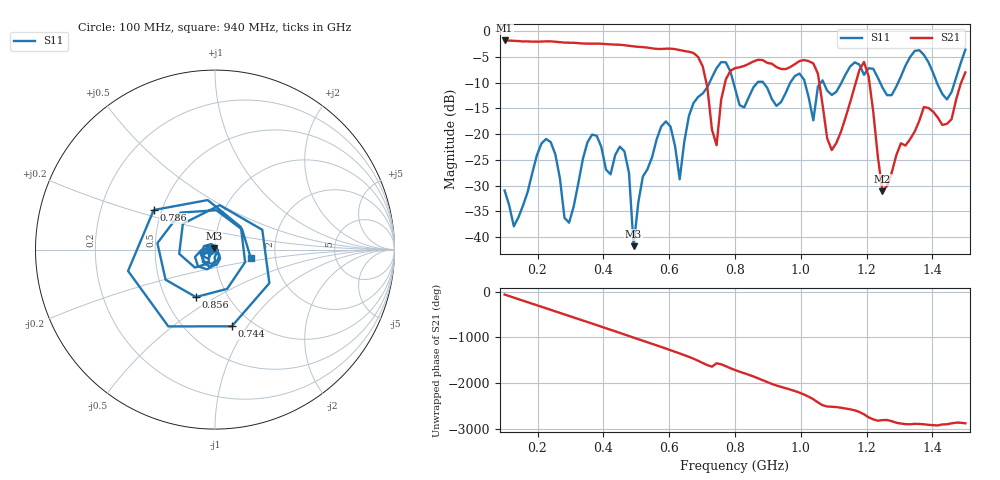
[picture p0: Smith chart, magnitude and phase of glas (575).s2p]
! NanoVNA-App
! Date: 2025-09-25 15:59:57
! Start: 100MHz Stop: 1,5GHz Points: 101
! S-Parameter data: F S11 S21 S12 S22
# Hz S RI R 50
!  Frequency  S11_Real  S11_Imag  S21_Real  S21_Imag  S12_Real  S12_Imag  S22_Real  S22_Imag
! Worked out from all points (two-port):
!   101 points, 100 MHz to 1.5 GHz, reference 50 ohm
!   highest |S21| = -1.80 dB at 100 MHz (marker M1); lowest = -31.1 dB at 1.248 GHz (marker M2)
!   |S21| within 3 dB of the highest: start of sweep to 684.3 MHz
!   lowest |S11| = -41.7 dB at 492 MHz (marker M3), VSWR 1.02, Z = 49.5 + j0.626 ohm
!   |S11| at or under -10 dB: start of sweep to 722.5 MHz; 795.3 MHz to 867.8 MHz (72.46 MHz wide, 8.71 % of centre); 886.2 MHz to 967.8 MHz (81.65 MHz wide, 8.81 % of centre) (the widest 3 of 7)
!   S12 and S22 are empty: the file has one direction only
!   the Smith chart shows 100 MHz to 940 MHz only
!   S11 on the Smith chart (normalised r, x): 100 MHz: 0.95, -0.01; 744 MHz: 0.81, -0.85; 786 MHz: 0.45, +0.24; 856 MHz: 0.71, -0.41; 940 MHz: 1.49, -0.15
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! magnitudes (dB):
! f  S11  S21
! 100 MHz  -30.9  -1.8
! 128 MHz  -37.9  -1.9
! 226 MHz  -20.9  -2.0
! 296 MHz  -37.2  -2.2
! 338 MHz  -24.8  -2.4
! 464 MHz  -23.3  -2.7
! 492 MHz  -41.7  -3.0
! 576 MHz  -18.5  -3.5
! 632 MHz  -28.8  -3.7
! 702 MHz  -12.1  -6.9
! 744 MHz  -7.2  -22.1
! 786 MHz  -7.8  -7.7
! 800 MHz  -11.1  -7.2
! 856 MHz  -10.9  -5.9
! 940 MHz  -13.8  -7.3
! 996 MHz  -8.2  -5.8
! 1.038 GHz  -17.3  -6.2
! 1.094 GHz  -12.4  -23.1
! 1.192 GHz  -8.5  -6.0
! 1.248 GHz  -10.9  -31.1
! 1.276 GHz  -12.4  -27.5
! 1.5 GHz  -3.6  -8.0
